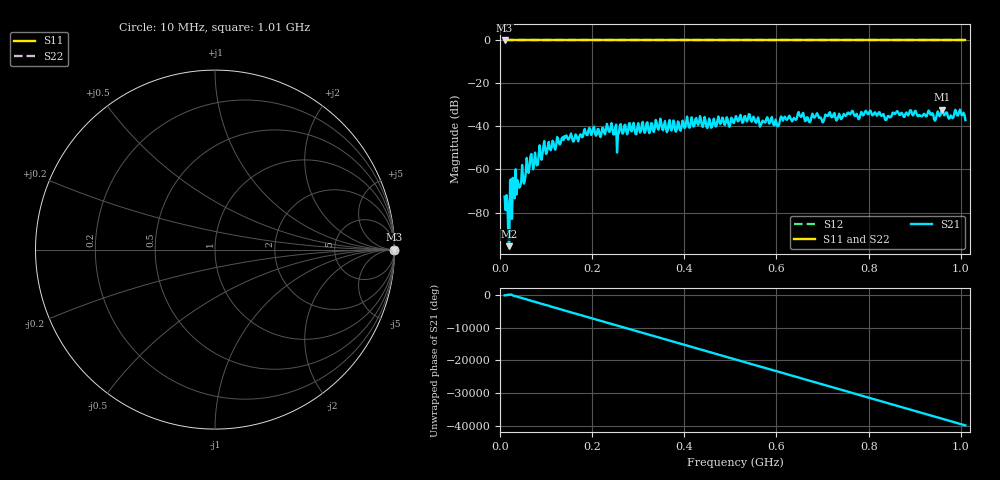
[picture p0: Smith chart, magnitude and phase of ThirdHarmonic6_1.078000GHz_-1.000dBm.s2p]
! 8/16/2025 9:52:21 AM
! C:\ANRITSUVNA\TEMP\TEMP.S2P
! CHANNEL.1
! TR.MEASUREMENT
! RAW.DATA
! RF.CORRECTION.OFF
! AVERAGING.OFF
! IF.BANDWIDTH: 5KHZ
! SWEEPTYPE:  FREQ.SWEEP(Linear)
! Reference Plane Port Info
! PORT:  PORT1  PORT2
! DISTANCE:  0  m  0  m
! TIME:  0  s  0  s
! PHASE.OFFSET:  0  deg.  0  deg.
! LOSS:  0  dB  0  dB
! REF.LOSS:  0  dB  0  dB
! REF.FREQ:  0  Hz  0  Hz
! Power Info
! POWER:  -20  dBm  -20  dBm
! EFF.POWER:  -20  dBm  -20  dBm
! SOURCE.ATTEN:  0  dB  0  dB
! TEST.ATTEN:  0  dB  0  dB
# GHZ S RI R 50.0
! FREQ.GHZ  S11RE  S11IM  S21RE  S21IM  S12RE  S12IM  S22RE  S22IM
!; PortSelection: Port_12
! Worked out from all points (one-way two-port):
!   501 points, 10 MHz to 1.01 GHz, reference 50 ohm
!   highest |S21| = -32.14 dB at 960 MHz (marker M1); lowest = -95.6 dB at 20 MHz (marker M2)
!   lowest |S11| = 0.0 dB at 10 MHz (marker M3)
!   |S11| at or under -10 dB: nowhere
!   |S22| runs from 0.0 to 0.0 dB; largest |S21 - S12| = 1
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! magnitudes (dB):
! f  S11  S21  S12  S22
! 10 MHz  0.0  -72.6  0.0  0.0
! 16 MHz  0.0  -74.8  0.0  0.0
! 20 MHz  0.0  -95.6  0.0  0.0
! 22 MHz  0.0  -65.0  0.0  0.0
! 26 MHz  0.0  -83.0  0.0  0.0
! 40 MHz  0.0  -67.3  0.0  0.0
! 62 MHz  0.0  -61.6  0.0  0.0
! 96 MHz  0.0  -46.8  0.0  0.0
! 178 MHz  0.0  -45.0  0.0  0.0
! 238 MHz  0.0  -42.5  0.0  0.0
! 252 MHz  0.0  -39.1  0.0  0.0
! 344 MHz  0.0  -41.5  0.0  0.0
! 510 MHz  0.0  -36.5  0.0  0.0
! 600 MHz  0.0  -38.3  0.0  0.0
! 614 MHz  0.0  -37.3  0.0  0.0
! 678 MHz  0.0  -34.0  0.0  0.0
! 800 MHz  0.0  -34.2  0.0  0.0
! 844 MHz  0.0  -35.1  0.0  0.0
! 892 MHz  0.0  -32.5  0.0  0.0
! 944 MHz  0.0  -37.3  0.0  0.0
! 960 MHz  0.0  -32.1  0.0  0.0
! 1.01 GHz  0.0  -37.0  0.0  0.0
